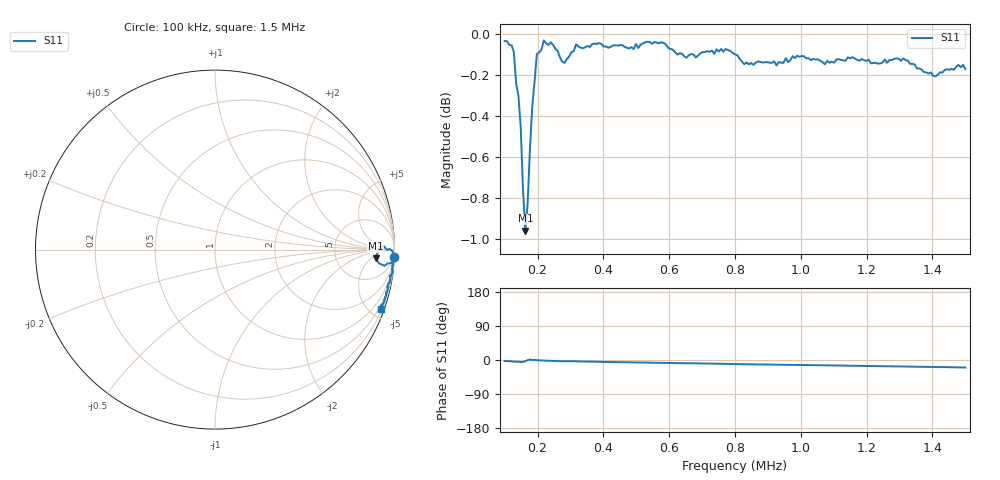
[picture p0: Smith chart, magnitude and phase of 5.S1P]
!Agilent Technologies,E5071C,MY46100305,A.07.02
!Date: Fri Jan 01 01:35:56 1988
!Data & Calibration Information:
!Freq	S11:SOLT1(ON)
# Hz S MA R 50
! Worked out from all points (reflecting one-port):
!   201 points, 100 kHz to 1.5 MHz, reference 50 ohm
!   lowest |S11| = -1.0 dB at 163 kHz (marker M1), VSWR 18.16, Z = 738 - j353 ohm
!   phase of S11 starts at -2 deg and turns -17 deg over the sweep
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100000  0.9959 -2.5
128000  0.99 -4.2
135000  0.9725 -4.5
142000  0.9658 -4.6
149000  0.949 -5.5
156000  0.916 -4.8
163000  0.8956 -3.0
170000  0.9094 -0.4
177000  0.9377 1.3
184000  0.9603 -0.1
191000  0.9734 0.2
198000  0.9888 -0.5
226000  0.9947 -1.9
240000  0.9952 -2.1
254000  0.9917 -2.9
275000  0.9845 -3.1
317000  0.9941 -3.5
450000  0.9936 -5.6
576000  0.9953 -7.6
625000  0.9884 -8.4
702000  0.9898 -9.1
800000  0.9885 -10.8
828000  0.9831 -11.2
975000  0.9876 -12.5
1150000  0.9863 -15.0
1325000  0.985 -17.7
1416000  0.9773 -18.5
1500000  0.9804 -19.8
